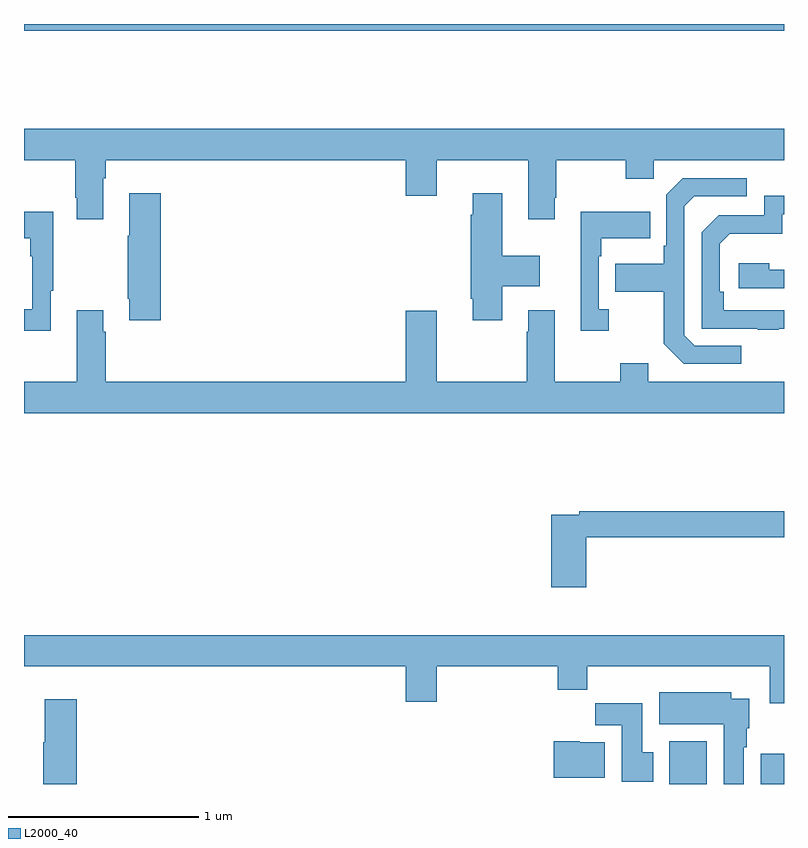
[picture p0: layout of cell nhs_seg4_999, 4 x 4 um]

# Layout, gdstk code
import gdstk
lib = gdstk.Library(unit=1e-6, precision=1e-09)
def R(c, l, rs):  # rectangles x0, y0, x1, y1
    for r in rs: c.add(gdstk.rectangle(r[:2], r[2:], *l))
def P(c, l, *ps):  # polygons
    for p in ps: c.add(gdstk.Polygon(p, *l))
L2000_40 = (2000, 40)

nhs_seg4_999 = lib.new_cell('nhs_seg4_999')
R(nhs_seg4_999, L2000_40, [(166.397,762.9,166.594,763.126), (166.877,762.9,167,763.06), (163,766.864,167,766.9)])
P(nhs_seg4_999, L2000_40, [(163.417,766.088),(163.43,766.088),(163.43,766.184),(165.008,766.184),(165.008,765.996),(165.172,765.996),(165.172,766.184),(165.653,766.184),(165.653,765.873),(165.793,765.873),(165.793,765.985),(165.801,765.985),(165.801,766.184),(166.168,766.184),(166.168,766.085),(166.314,766.085),(166.314,766.184),(167,766.184),(167,766.348),(163,766.348),(163,766.184),(163.27,766.184),(163.27,765.985),(163.277,765.985),(163.277,765.873),(163.417,765.873)],
  [(166.774,765.207),(166.53,765.207),(166.476,765.261),(166.476,765.942),(166.527,765.993),(166.804,765.993),(166.804,766.089),(166.467,766.089),(166.38,766.002),(166.38,765.733),(166.368,765.733),(166.368,765.637),(166.111,765.637),(166.111,765.49),(166.368,765.49),(166.368,765.217),(166.473,765.111),(166.774,765.111)],
  [(163.721,766.009),(163.553,766.009),(163.553,765.785),(163.546,765.785),(163.546,765.454),(163.553,765.454),(163.553,765.342),(163.721,765.342)],
  [(165.517,765.521),(165.715,765.521),(165.715,765.679),(165.517,765.679),(165.517,766.009),(165.362,766.009),(165.362,765.896),(165.35,765.896),(165.35,765.454),(165.362,765.454),(165.362,765.342),(165.517,765.342)],
  [(166.973,765.297),(167,765.297),(167,765.393),(166.682,765.393),(166.682,765.49),(166.662,765.49),(166.662,765.744),(166.715,765.797),(166.992,765.797),(166.992,765.9),(167,765.9),(167,765.996),(166.896,765.996),(166.896,765.894),(166.656,765.894),(166.566,765.804),(166.566,765.297),(166.861,765.297),(166.861,765.292),(166.973,765.292)],
  [(163.141,765.497),(163.153,765.497),(163.153,765.913),(163,765.913),(163,765.773),(163.032,765.773),(163.032,765.677),(163.044,765.677),(163.044,765.398),(163,765.398),(163,765.285),(163.141,765.285)],
  [(166.078,765.398),(166.026,765.398),(166.026,765.677),(166.039,765.677),(166.039,765.773),(166.295,765.773),(166.295,765.913),(165.929,765.913),(165.929,765.285),(166.078,765.285)],
  [(167,765.606),(166.922,765.606),(166.922,765.64),(166.761,765.64),(166.761,765.51),(167,765.51)],
  [(167,765.016),(166.285,765.016),(166.285,765.115),(166.138,765.115),(166.138,765.016),(165.793,765.016),(165.793,765.394),(165.653,765.394),(165.653,765.281),(165.646,765.281),(165.646,765.016),(165.172,765.016),(165.172,765.391),(165.008,765.391),(165.008,765.016),(163.43,765.016),(163.43,765.281),(163.417,765.281),(163.417,765.394),(163.277,765.394),(163.277,765.016),(163,765.016),(163,764.852),(167,764.852)],
  [(165.959,764.2),(167,764.2),(167,764.336),(165.922,764.336),(165.922,764.316),(165.776,764.316),(165.776,763.935),(165.959,763.935)],
  [(167,763.684),(163,763.684),(163,763.52),(165.008,763.52),(165.008,763.332),(165.172,763.332),(165.172,763.52),(165.809,763.52),(165.809,763.396),(165.965,763.396),(165.965,763.52),(166.925,763.52),(166.925,763.326),(167,763.326)],
  [(166.789,763.094),(166.804,763.094),(166.804,763.194),(166.816,763.194),(166.816,763.348),(166.723,763.348),(166.723,763.384),(166.343,763.384),(166.343,763.214),(166.682,763.214),(166.682,762.9),(166.789,762.9)],
  [(163.277,763.345),(163.109,763.345),(163.109,763.121),(163.102,763.121),(163.102,762.9),(163.277,762.9)],
  [(166.312,763.068),(166.255,763.068),(166.255,763.326),(166.006,763.326),(166.006,763.208),(166.145,763.208),(166.145,762.912),(166.312,762.912)],
  [(166.057,763.12),(165.924,763.12),(165.924,763.126),(165.788,763.126),(165.788,762.932),(166.057,762.932)])

lib.write_gds('nhs_seg4_999.gds')
